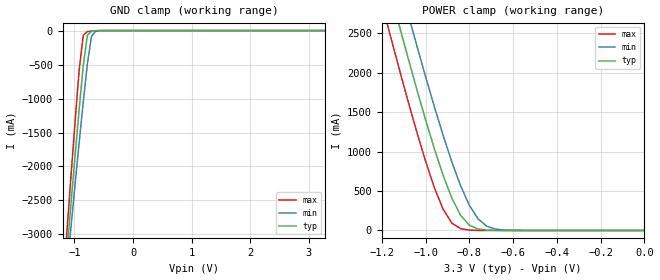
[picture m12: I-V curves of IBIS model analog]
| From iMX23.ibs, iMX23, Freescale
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|   Model analog
[Model]  analog
Model_type Input
Polarity   Non-Inverting
Vinl =   0.8000V
Vinh =   2.0000V
C_comp   3.0000pF   2.0000pF   4.0000pF
[Temperature Range]   50.0000   100.0000   0.0
[Voltage Range]   3.3000V   3.1500V   3.4500V
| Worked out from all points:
|   GND clamp passes 1 mA (typ) near -0.60 V on its own axis
|   POWER clamp passes 1 mA (typ) near -0.67 V on its own axis
[GND_clamp]
|Voltage   I(typ)   I(min)   I(max)
-3.3V     -26.21A    -23.87A    -29.35A
-1.13V    -3.267A    -3.531A    -2.969A
-1.06V    -2.55A     -2.893A    -2.145A
-990mV    -1.842A    -2.263A    -1.339A
-920mV    -1.155A    -1.644A    -575.7mA
-850mV    -509.8mA   -1.045A    -69mA
-780mV    -69.52mA   -488.7mA   -14.99mA
-710mV    -8.621mA   -83.18mA   -7.124mA
-640mV    -1.682mA   -10.06mA   -3.059mA
-570mV    -358.7uA   -1.227mA   -873.1uA
3.28V     146.4pA    875.2pA    135.5pA
[POWER_clamp]
|Voltage   I(typ)   I(min)   I(max)
-3.28V    26.83A     27.19A     26.47A
-1.2V     3.427A     3.984A     2.878A
-1.16V    3.007A     3.565A     2.456A
-1.12V    2.592A     3.151A     2.041A
-1.08V    2.184A     2.742A     1.636A
-1.04V    1.786A     2.341A     1.246A
-920mV    700mA      1.206A     269.4mA
-880mV    409.8mA    867.8mA    93.85mA
-840mV    191.8mA    565.9mA    22.6mA
-760mV    18.62mA    146.2mA    1.068mA
-640mV    266.5uA    5.13mA     30.33uA
0V        147.6pA    204.9pA    146.4pA
